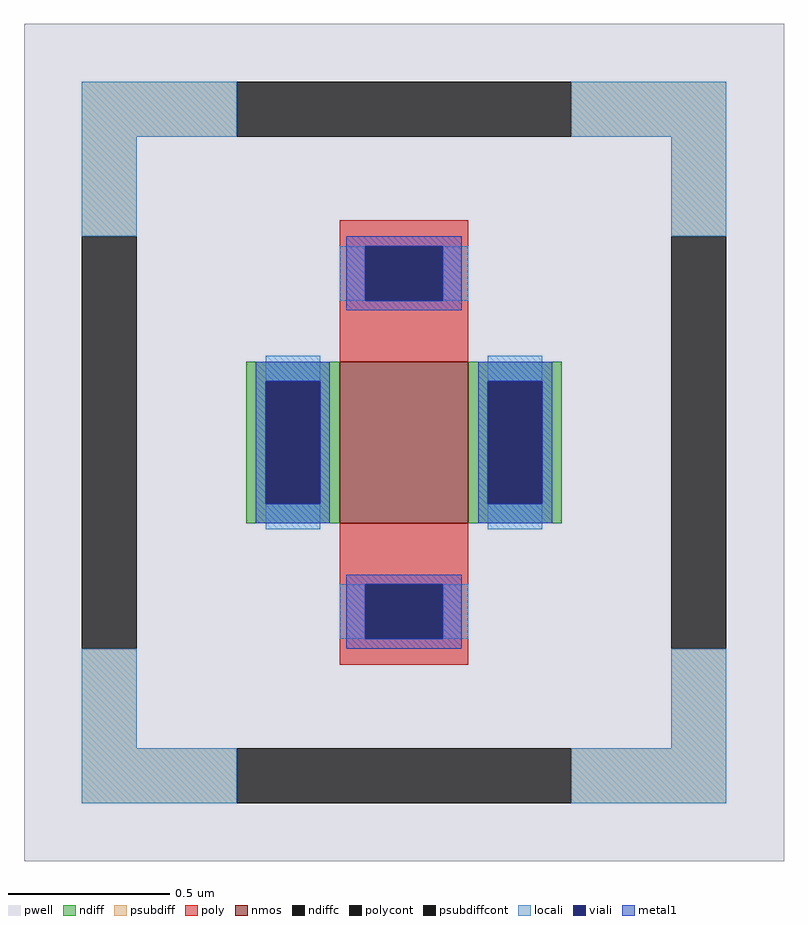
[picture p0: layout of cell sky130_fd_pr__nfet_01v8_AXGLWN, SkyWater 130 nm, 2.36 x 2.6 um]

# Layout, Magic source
magic
tech sky130A
<< pwell >>
rect -118 -130 118 130
<< nmos >>
rect -20 -25 20 25
<< ndiff >>
rect -49 19 -20 25
rect -49 -19 -43 19
rect -26 -19 -20 19
rect -49 -25 -20 -19
rect 20 19 49 25
rect 20 -19 26 19
rect 43 -19 49 19
rect 20 -25 49 -19
<< ndiffc >>
rect -43 -19 -26 19
rect 26 -19 43 19
<< psubdiff >>
rect -100 95 -52 112
rect 52 95 100 112
rect -100 64 -83 95
rect 83 64 100 95
rect -100 -95 -83 -64
rect 83 -95 100 -64
rect -100 -112 -52 -95
rect 52 -112 100 -95
<< psubdiffcont >>
rect -52 95 52 112
rect -100 -64 -83 64
rect 83 -64 100 64
rect -52 -112 52 -95
<< poly >>
rect -20 61 20 69
rect -20 44 -12 61
rect 12 44 20 61
rect -20 25 20 44
rect -20 -44 20 -25
rect -20 -61 -12 -44
rect 12 -61 20 -44
rect -20 -69 20 -61
<< polycont >>
rect -12 44 12 61
rect -12 -61 12 -44
<< locali >>
rect -100 95 -52 112
rect 52 95 100 112
rect -100 64 -83 95
rect 83 64 100 95
rect -20 44 -12 61
rect 12 44 20 61
rect -43 19 -26 27
rect -43 -27 -26 -19
rect 26 19 43 27
rect 26 -27 43 -19
rect -20 -61 -12 -44
rect 12 -61 20 -44
rect -100 -95 -83 -64
rect 83 -95 100 -64
rect -100 -112 -52 -95
rect 52 -112 100 -95
<< viali >>
rect -12 44 12 61
rect -43 -19 -26 19
rect 26 -19 43 19
rect -12 -61 12 -44
<< metal1 >>
rect -18 61 18 64
rect -18 44 -12 61
rect 12 44 18 61
rect -18 41 18 44
rect -46 19 -23 25
rect -46 -19 -43 19
rect -26 -19 -23 19
rect -46 -25 -23 -19
rect 23 19 46 25
rect 23 -19 26 19
rect 43 -19 46 19
rect 23 -25 46 -19
rect -18 -44 18 -41
rect -18 -61 -12 -44
rect 12 -61 18 -44
rect -18 -64 18 -61
<< properties >>
string FIXED_BBOX -91 -103 91 103
string gencell sky130_fd_pr__nfet_01v8
string library sky130
string parameters w 0.5 l 0.4 m 1 nf 1 diffcov 100 polycov 100 guard 1 glc 1 grc 1 gtc 1 gbc 1 tbcov 100 rlcov 100 topc 1 botc 1 poverlap 0 doverlap 1 lmin 0.15 wmin 0.42 compatible {sky130_fd_pr__nfet_01v8 sky130_fd_pr__nfet_01v8_lvt  sky130_fd_bs_flash__special_sonosfet_star  sky130_fd_pr__nfet_g5v0d10v5 sky130_fd_pr__nfet_05v0_nvt  sky130_fd_pr__nfet_03v3_nvt} full_metal 1 viasrc 100 viadrn 100 viagate 100 viagb 0 viagr 0 viagl 0 viagt 0
<< end >>
